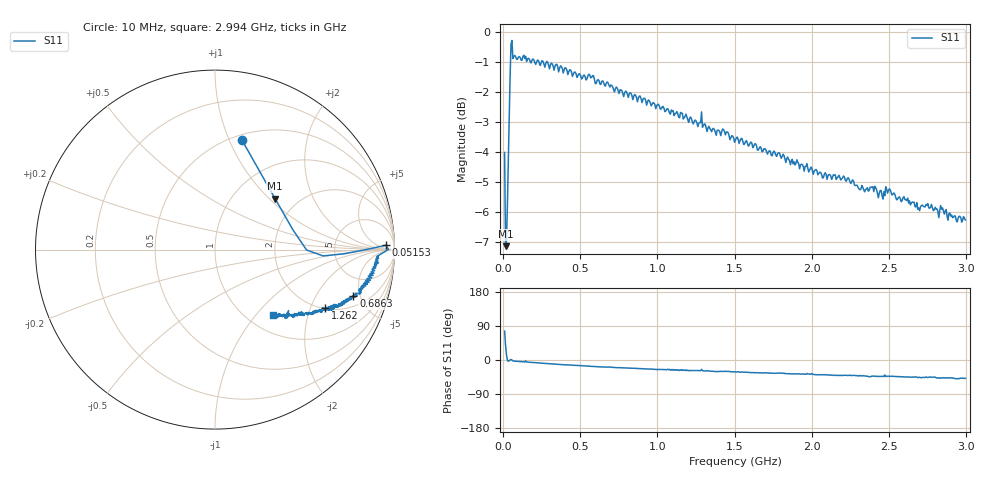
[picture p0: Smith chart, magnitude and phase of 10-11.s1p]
# HZ S RI R 50
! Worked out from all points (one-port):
!   504 points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, 10 MHz to 2.994 GHz, reference 50 ohm
!   lowest |S11| = -7.1 dB at 15.93 MHz (marker M1), VSWR 2.57, Z = 77 + j54.3 ohm
!   |S11| at or under -10 dB: nowhere
!   S11 on the Smith chart (normalised r, x): 10 MHz: 0.55, +1.11; 51.53 MHz: 32, +17; 686.3 MHz: 2.83, -4.34; 1.262 GHz: 2.02, -2.55; 2.994 GHz: 1.30, -1.23
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1e7  0.1498 0.611
1.593254e7  0.3343 0.2847
2.186508e7  0.4331 0.1119
2.779762e7  0.5101 -0.00221
3.373016e7  0.6017 -0.0351
4.559524e7  0.8442 0.000459
5.152778e7  0.952 0.0244
5.746032e7  0.9668 0.00164
6.339286e7  0.901 -0.0391
7.525794e7  0.9116 -0.0479
1.049206e8  0.9064 -0.063
3.8375e8  0.8491 -0.1807
5.676588e8  0.8021 -0.2417
6.863096e8  0.7716 -0.2591
7.575e8  0.7499 -0.2782
1.13125e9  0.6489 -0.3337
1.261766e9  0.6128 -0.3268
1.279564e9  0.622 -0.3318
1.505e9  0.5642 -0.3426
1.87875e9  0.482 -0.3613
2.2525e9  0.4222 -0.3654
2.371151e9  0.3887 -0.3805
2.483869e9  0.4009 -0.3719
2.62625e9  0.3647 -0.368
2.697441e9  0.3516 -0.3599
2.786429e9  0.3543 -0.3575
2.940675e9  0.3131 -0.3662
2.994068e9  0.3236 -0.362
